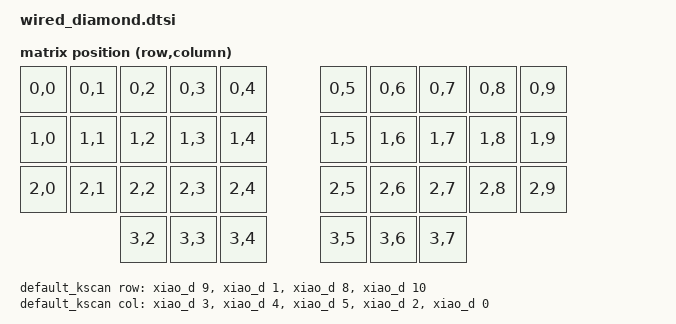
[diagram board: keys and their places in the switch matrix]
/*
 * Copyright (c) 2021 The ZMK Contributors
 *
 * SPDX-License-Identifier: MIT
 */

#include <dt-bindings/zmk/matrix_transform.h>
#include "wired_diamond_led.dtsi"

/ {
    chosen {
        zmk,kscan = &default_kscan;
        zmk,matrix_transform = &default_transform;
        zmk,split-uart = &uart0;
        zmk,underglow = &led_strip;
    };

    default_transform: keymap_transform_0 {
        compatible = "zmk,matrix-transform";
        columns = <10>;
        rows = <4>;
        map = <
        RC(0,0) RC(0,1) RC(0,2) RC(0,3) RC(0,4)   RC(0,5) RC(0,6) RC(0,7) RC(0,8) RC(0,9)
        RC(1,0) RC(1,1) RC(1,2) RC(1,3) RC(1,4)   RC(1,5) RC(1,6) RC(1,7) RC(1,8) RC(1,9) 
        RC(2,0) RC(2,1) RC(2,2) RC(2,3) RC(2,4)   RC(2,5) RC(2,6) RC(2,7) RC(2,8) RC(2,9)
                        RC(3,2) RC(3,3) RC(3,4)   RC(3,5) RC(3,6) RC(3,7)             
        >;
    };

    default_kscan: kscan_0 {
        compatible = "zmk,kscan-gpio-matrix";
        diode-direction = "col2row";
        wakeup-source;
        row-gpios
            = <&xiao_d 9 (GPIO_ACTIVE_HIGH | GPIO_PULL_DOWN)>
            , <&xiao_d 1 (GPIO_ACTIVE_HIGH | GPIO_PULL_DOWN)>
            , <&xiao_d 8 (GPIO_ACTIVE_HIGH | GPIO_PULL_DOWN)>
            , <&xiao_d 10 (GPIO_ACTIVE_HIGH | GPIO_PULL_DOWN)>
            ;

        col-gpios
            = <&xiao_d 3 GPIO_ACTIVE_HIGH>
            , <&xiao_d 4 GPIO_ACTIVE_HIGH>
            , <&xiao_d 5 GPIO_ACTIVE_HIGH>
            , <&xiao_d 2 GPIO_ACTIVE_HIGH>
            , <&xiao_d 0 GPIO_ACTIVE_HIGH>
            ;
    };

    wired_split {
        compatible = "zmk,wired-split";
        device = <&xiao_serial>;
    };
};

&xiao_serial { status = "okay"; };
